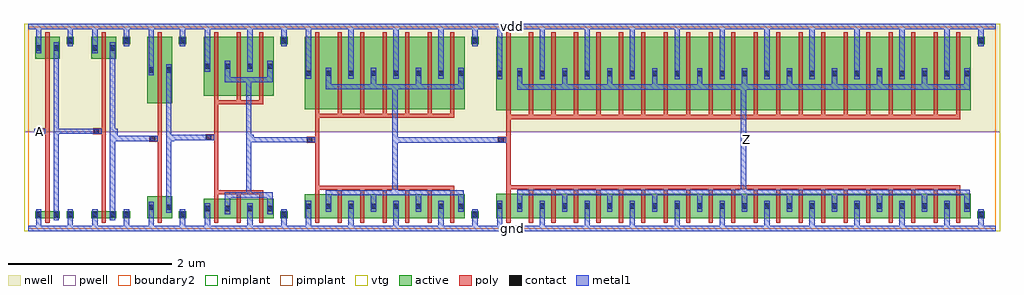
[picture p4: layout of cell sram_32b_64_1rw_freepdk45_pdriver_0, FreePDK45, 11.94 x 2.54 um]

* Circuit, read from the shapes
.subckt sram_32b_64_1rw_freepdk45_pdriver_0 A Z gnd vdd
M1 sram_32b_64_1rw_freepdk45_pinv_7_1/A A gnd gnd nfet w=0.09u l=0.05u
M2 sram_32b_64_1rw_freepdk45_pinv_8_2/A sram_32b_64_1rw_freepdk45_pinv_7_1/A gnd gnd nfet w=0.09u l=0.05u
M3 sram_32b_64_1rw_freepdk45_pinv_9_3/A sram_32b_64_1rw_freepdk45_pinv_8_2/A gnd gnd nfet w=0.27u l=0.05u
M4 sram_32b_64_1rw_freepdk45_pinv_10_4/A sram_32b_64_1rw_freepdk45_pinv_9_3/A gnd gnd nfet w=0.24u l=0.05u m=3
M5 sram_32b_64_1rw_freepdk45_pinv_11_5/A sram_32b_64_1rw_freepdk45_pinv_10_4/A gnd gnd nfet w=0.295u l=0.05u m=7
M6 Z sram_32b_64_1rw_freepdk45_pinv_11_5/A gnd gnd nfet w=0.3u l=0.05u m=21
M7 sram_32b_64_1rw_freepdk45_pinv_7_1/A A vdd vdd pfet w=0.27u l=0.05u
M8 sram_32b_64_1rw_freepdk45_pinv_8_2/A sram_32b_64_1rw_freepdk45_pinv_7_1/A vdd vdd pfet w=0.27u l=0.05u
M9 sram_32b_64_1rw_freepdk45_pinv_9_3/A sram_32b_64_1rw_freepdk45_pinv_8_2/A vdd vdd pfet w=0.81u l=0.05u
M10 sram_32b_64_1rw_freepdk45_pinv_10_4/A sram_32b_64_1rw_freepdk45_pinv_9_3/A vdd vdd pfet w=0.72u l=0.05u m=3
M11 sram_32b_64_1rw_freepdk45_pinv_11_5/A sram_32b_64_1rw_freepdk45_pinv_10_4/A vdd vdd pfet w=0.8875u l=0.05u m=7
M12 Z sram_32b_64_1rw_freepdk45_pinv_11_5/A vdd vdd pfet w=0.9u l=0.05u m=21
.ends

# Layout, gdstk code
import gdstk
lib = gdstk.Library(unit=1e-6, precision=5e-10)
def R(c, l, rs):  # rectangles x0, y0, x1, y1
    for r in rs: c.add(gdstk.rectangle(r[:2], r[2:], *l))
def A(c, l, x, y, w, h, nx, ny, dx, dy):  # array of equal rectangles
    R(c, l, [(x+i*dx, y+j*dy, x+i*dx+w, y+j*dy+h) for i in range(nx) for j in range(ny)])
active = (1, 0)
pwell = (2, 0)
nwell = (3, 0)
nimplant = (4, 0)
pimplant = (5, 0)
vtg = (6, 0)
poly = (9, 0)
contact = (10, 0)
metal1 = (11, 0)
boundary2 = (239, 0)

sram_32b_64_1rw_freepdk4 = lib.new_cell('sram_32b_64_1rw_freepdk45_contact_11')
R(sram_32b_64_1rw_freepdk4, active, [(0,0.0225,0.09,0.1125)])
R(sram_32b_64_1rw_freepdk4, nwell, [(-0.055,-0.0325,0.145,0.1675)])
R(sram_32b_64_1rw_freepdk4, pimplant, [(0,0.0225,0.09,0.1125)])
R(sram_32b_64_1rw_freepdk4, contact, [(0.0125,0.035,0.0775,0.1)])
R(sram_32b_64_1rw_freepdk4, metal1, [(0.0125,0,0.0775,0.135)])
R(sram_32b_64_1rw_freepdk4, boundary2, [(-0.055,-0.0325,0.145,0.1675)])

c_sram_32b_64_1rw_freepdk4 = lib.new_cell('sram_32b_64_1rw_freepdk45_pmos_m1_w0_270_sm1_dm1_da_p')
R(c_sram_32b_64_1rw_freepdk4, active, [(0,0,0.305,0.27)])
R(c_sram_32b_64_1rw_freepdk4, nwell, [(-0.08,-0.08,0.385,0.35)])
R(c_sram_32b_64_1rw_freepdk4, pimplant, [(0,0,0.305,0.27)])
R(c_sram_32b_64_1rw_freepdk4, vtg, [(-0.08,-0.08,0.385,0.35)])
R(c_sram_32b_64_1rw_freepdk4, poly, [(0.1275,-0.055,0.1775,0.325), (0.1275,-0.055,0.1775,0.325)])
R(c_sram_32b_64_1rw_freepdk4, metal1, [(0.0125,0.0675,0.0775,0.2025), (0.2275,0.0675,0.2925,0.2025)])
R(c_sram_32b_64_1rw_freepdk4, boundary2, [(-0.08,-0.08,0.385,0.35)])
c_sram_32b_64_1rw_freepdk4.add(gdstk.Reference(sram_32b_64_1rw_freepdk4, (0,0.0675)))
c_sram_32b_64_1rw_freepdk4.add(gdstk.Reference(sram_32b_64_1rw_freepdk4, (0.215,0.0675)))
c_sram_32b_64_1rw_freepdk4.add(gdstk.Label('G', (0.1525,0.135), layer=9, texttype=0))
c_sram_32b_64_1rw_freepdk4.add(gdstk.Label('S', (0.045,0.135), layer=11, texttype=0))
c_sram_32b_64_1rw_freepdk4.add(gdstk.Label('D', (0.26,0.135), layer=11, texttype=0))

c_sram_32b_64_1rw_freepdk4_ = lib.new_cell('sram_32b_64_1rw_freepdk45_contact_10')
R(c_sram_32b_64_1rw_freepdk4_, active, [(0,0.0225,0.09,0.1125)])
R(c_sram_32b_64_1rw_freepdk4_, pwell, [(-0.055,-0.0325,0.145,0.1675)])
R(c_sram_32b_64_1rw_freepdk4_, nimplant, [(0,0.0225,0.09,0.1125)])
R(c_sram_32b_64_1rw_freepdk4_, contact, [(0.0125,0.035,0.0775,0.1)])
R(c_sram_32b_64_1rw_freepdk4_, metal1, [(0.0125,0,0.0775,0.135)])
R(c_sram_32b_64_1rw_freepdk4_, boundary2, [(-0.055,-0.0325,0.145,0.1675)])

c_sram_32b_64_1rw_freepdk4__ = lib.new_cell('sram_32b_64_1rw_freepdk45_nmos_m1_w0_090_sm1_dm1_da_p')
R(c_sram_32b_64_1rw_freepdk4__, active, [(0,0,0.305,0.09)])
R(c_sram_32b_64_1rw_freepdk4__, pwell, [(-0.08,-0.08,0.385,0.17)])
R(c_sram_32b_64_1rw_freepdk4__, nimplant, [(0,0,0.305,0.09)])
R(c_sram_32b_64_1rw_freepdk4__, vtg, [(-0.08,-0.08,0.385,0.17)])
R(c_sram_32b_64_1rw_freepdk4__, poly, [(0.1275,-0.055,0.1775,0.145), (0.1275,-0.055,0.1775,0.145)])
R(c_sram_32b_64_1rw_freepdk4__, metal1, [(0.0125,-0.0225,0.0775,0.1125), (0.2275,-0.0225,0.2925,0.1125)])
R(c_sram_32b_64_1rw_freepdk4__, boundary2, [(-0.08,-0.08,0.385,0.17)])
c_sram_32b_64_1rw_freepdk4__.add(gdstk.Reference(c_sram_32b_64_1rw_freepdk4_, (0,-0.0225)))
c_sram_32b_64_1rw_freepdk4__.add(gdstk.Reference(c_sram_32b_64_1rw_freepdk4_, (0.215,-0.0225)))
c_sram_32b_64_1rw_freepdk4__.add(gdstk.Label('G', (0.1525,0.045), layer=9, texttype=0))
c_sram_32b_64_1rw_freepdk4__.add(gdstk.Label('S', (0.045,0.045), layer=11, texttype=0))
c_sram_32b_64_1rw_freepdk4__.add(gdstk.Label('D', (0.26,0.045), layer=11, texttype=0))

c_sram_32b_64_1rw_freepdk4___ = lib.new_cell('sram_32b_64_1rw_freepdk45_contact_12')
R(c_sram_32b_64_1rw_freepdk4___, active, [(0,0.0225,0.09,0.1125)])
R(c_sram_32b_64_1rw_freepdk4___, nwell, [(-0.055,-0.0325,0.145,0.1675)])
R(c_sram_32b_64_1rw_freepdk4___, nimplant, [(0,0.0225,0.09,0.1125)])
R(c_sram_32b_64_1rw_freepdk4___, contact, [(0.0125,0.035,0.0775,0.1)])
R(c_sram_32b_64_1rw_freepdk4___, metal1, [(0.0125,0,0.0775,0.135)])
R(c_sram_32b_64_1rw_freepdk4___, boundary2, [(-0.055,-0.0325,0.145,0.1675)])

c_sram_32b_64_1rw_freepdk4____ = lib.new_cell('sram_32b_64_1rw_freepdk45_contact_13')
R(c_sram_32b_64_1rw_freepdk4____, active, [(0,0.0225,0.09,0.1125)])
R(c_sram_32b_64_1rw_freepdk4____, pwell, [(-0.055,-0.0325,0.145,0.1675)])
R(c_sram_32b_64_1rw_freepdk4____, pimplant, [(0,0.0225,0.09,0.1125)])
R(c_sram_32b_64_1rw_freepdk4____, contact, [(0.0125,0.035,0.0775,0.1)])
R(c_sram_32b_64_1rw_freepdk4____, metal1, [(0.0125,0,0.0775,0.135)])
R(c_sram_32b_64_1rw_freepdk4____, boundary2, [(-0.055,-0.0325,0.145,0.1675)])

c_sram_32b_64_1rw_freepdk4_____ = lib.new_cell('sram_32b_64_1rw_freepdk45_contact_14')
R(c_sram_32b_64_1rw_freepdk4_____, poly, [(0.03,0,0.105,0.075)])
R(c_sram_32b_64_1rw_freepdk4_____, contact, [(0.035,0.005,0.1,0.07)])
R(c_sram_32b_64_1rw_freepdk4_____, metal1, [(0,0.005,0.135,0.07)])
R(c_sram_32b_64_1rw_freepdk4_____, boundary2, [(0,0,0.135,0.075)])

c_sram_32b_64_1rw_freepdk4______ = lib.new_cell('sram_32b_64_1rw_freepdk45_pinv_7')
R(c_sram_32b_64_1rw_freepdk4______, pwell, [(-0.055,-0.0325,0.7425,1.185)])
R(c_sram_32b_64_1rw_freepdk4______, nwell, [(-0.055,1.185,0.7425,2.505)])
R(c_sram_32b_64_1rw_freepdk4______, vtg, [(-0.055,-0.0325,0.7425,1.185), (-0.055,1.185,0.7425,2.505)])
R(c_sram_32b_64_1rw_freepdk4______, poly, [(0.2075,0.27,0.2575,2.02), (0.14,1.1525,0.2075,1.2275)])
R(c_sram_32b_64_1rw_freepdk4______, metal1, [(0,-0.0325,0.6875,0.0325), (0.0925,-0.0325,0.1575,0.1025), (0.4775,0,0.5425,0.17), (0.3075,0.1025,0.3725,2.2775), (0.0725,1.1575,0.2075,1.2225), (0.34,1.1575,0.405,1.2225), (0.0925,2.1425,0.1575,2.5025), (0.4775,2.3,0.5425,2.47), (0,2.4375,0.6875,2.5025)])
R(c_sram_32b_64_1rw_freepdk4______, boundary2, [(0,0,0.6875,2.47), (0,0,0.6875,2.47)])
c_sram_32b_64_1rw_freepdk4______.add(gdstk.Reference(c_sram_32b_64_1rw_freepdk4, (0.08,2.075)))
c_sram_32b_64_1rw_freepdk4______.add(gdstk.Reference(c_sram_32b_64_1rw_freepdk4__, (0.08,0.125)))
c_sram_32b_64_1rw_freepdk4______.add(gdstk.Reference(c_sram_32b_64_1rw_freepdk4___, (0.465,2.2325)))
c_sram_32b_64_1rw_freepdk4______.add(gdstk.Reference(c_sram_32b_64_1rw_freepdk4____, (0.465,0.1025)))
c_sram_32b_64_1rw_freepdk4______.add(gdstk.Reference(c_sram_32b_64_1rw_freepdk4_____, (0.0725,1.1525)))
c_sram_32b_64_1rw_freepdk4______.add(gdstk.Label('A', (0.14,1.19), layer=11, texttype=0))
c_sram_32b_64_1rw_freepdk4______.add(gdstk.Label('Z', (0.3725,1.19), layer=11, texttype=0))
c_sram_32b_64_1rw_freepdk4______.add(gdstk.Label('gnd', (0.344,0), layer=11, texttype=0))
c_sram_32b_64_1rw_freepdk4______.add(gdstk.Label('vdd', (0.344,2.47), layer=11, texttype=0))

c_sram_32b_64_1rw_freepdk4_______ = lib.new_cell('sram_32b_64_1rw_freepdk45_pmos_m1_w0_810_sm1_dm1_da_p')
R(c_sram_32b_64_1rw_freepdk4_______, active, [(0,0,0.305,0.81)])
R(c_sram_32b_64_1rw_freepdk4_______, nwell, [(-0.08,-0.08,0.385,0.89)])
R(c_sram_32b_64_1rw_freepdk4_______, pimplant, [(0,0,0.305,0.81)])
R(c_sram_32b_64_1rw_freepdk4_______, vtg, [(-0.08,-0.08,0.385,0.89)])
R(c_sram_32b_64_1rw_freepdk4_______, poly, [(0.1275,-0.055,0.1775,0.865), (0.1275,-0.055,0.1775,0.865)])
R(c_sram_32b_64_1rw_freepdk4_______, metal1, [(0.0125,0.3375,0.0775,0.4725), (0.2275,0.3375,0.2925,0.4725)])
R(c_sram_32b_64_1rw_freepdk4_______, boundary2, [(-0.08,-0.08,0.385,0.89)])
c_sram_32b_64_1rw_freepdk4_______.add(gdstk.Reference(sram_32b_64_1rw_freepdk4, (0,0.3375)))
c_sram_32b_64_1rw_freepdk4_______.add(gdstk.Reference(sram_32b_64_1rw_freepdk4, (0.215,0.3375)))
c_sram_32b_64_1rw_freepdk4_______.add(gdstk.Label('G', (0.1525,0.405), layer=9, texttype=0))
c_sram_32b_64_1rw_freepdk4_______.add(gdstk.Label('S', (0.045,0.405), layer=11, texttype=0))
c_sram_32b_64_1rw_freepdk4_______.add(gdstk.Label('D', (0.26,0.405), layer=11, texttype=0))

c_sram_32b_64_1rw_freepdk4________ = lib.new_cell('sram_32b_64_1rw_freepdk45_nmos_m1_w0_270_sm1_dm1_da_p')
R(c_sram_32b_64_1rw_freepdk4________, active, [(0,0,0.305,0.27)])
R(c_sram_32b_64_1rw_freepdk4________, pwell, [(-0.08,-0.08,0.385,0.35)])
R(c_sram_32b_64_1rw_freepdk4________, nimplant, [(0,0,0.305,0.27)])
R(c_sram_32b_64_1rw_freepdk4________, vtg, [(-0.08,-0.08,0.385,0.35)])
R(c_sram_32b_64_1rw_freepdk4________, poly, [(0.1275,-0.055,0.1775,0.325), (0.1275,-0.055,0.1775,0.325)])
R(c_sram_32b_64_1rw_freepdk4________, metal1, [(0.0125,0.0675,0.0775,0.2025), (0.2275,0.0675,0.2925,0.2025)])
R(c_sram_32b_64_1rw_freepdk4________, boundary2, [(-0.08,-0.08,0.385,0.35)])
c_sram_32b_64_1rw_freepdk4________.add(gdstk.Reference(c_sram_32b_64_1rw_freepdk4_, (0,0.0675)))
c_sram_32b_64_1rw_freepdk4________.add(gdstk.Reference(c_sram_32b_64_1rw_freepdk4_, (0.215,0.0675)))
c_sram_32b_64_1rw_freepdk4________.add(gdstk.Label('G', (0.1525,0.135), layer=9, texttype=0))
c_sram_32b_64_1rw_freepdk4________.add(gdstk.Label('S', (0.045,0.135), layer=11, texttype=0))
c_sram_32b_64_1rw_freepdk4________.add(gdstk.Label('D', (0.26,0.135), layer=11, texttype=0))

c_sram_32b_64_1rw_freepdk4_________ = lib.new_cell('sram_32b_64_1rw_freepdk45_pinv_8')
R(c_sram_32b_64_1rw_freepdk4_________, pwell, [(-0.055,-0.0325,0.7425,1.185)])
R(c_sram_32b_64_1rw_freepdk4_________, nwell, [(-0.055,1.185,0.7425,2.505)])
R(c_sram_32b_64_1rw_freepdk4_________, vtg, [(-0.055,-0.0325,0.7425,1.185), (-0.055,1.185,0.7425,2.505)])
R(c_sram_32b_64_1rw_freepdk4_________, poly, [(0.2075,0.45,0.2575,1.48), (0.14,1.0625,0.2075,1.1375)])
R(c_sram_32b_64_1rw_freepdk4_________, metal1, [(0,-0.0325,0.6875,0.0325), (0.0925,-0.0325,0.1575,0.1925), (0.4775,0,0.5425,0.17), (0.3075,0.1925,0.3725,2.0075), (0.0725,1.0675,0.2075,1.1325), (0.34,1.0675,0.405,1.1325), (0.0925,1.8725,0.1575,2.5025), (0.4775,2.3,0.5425,2.47), (0,2.4375,0.6875,2.5025)])
R(c_sram_32b_64_1rw_freepdk4_________, boundary2, [(0,0,0.6875,2.47), (0,0,0.6875,2.47)])
c_sram_32b_64_1rw_freepdk4_________.add(gdstk.Reference(c_sram_32b_64_1rw_freepdk4_______, (0.08,1.535)))
c_sram_32b_64_1rw_freepdk4_________.add(gdstk.Reference(c_sram_32b_64_1rw_freepdk4________, (0.08,0.125)))
c_sram_32b_64_1rw_freepdk4_________.add(gdstk.Reference(c_sram_32b_64_1rw_freepdk4___, (0.465,2.2325)))
c_sram_32b_64_1rw_freepdk4_________.add(gdstk.Reference(c_sram_32b_64_1rw_freepdk4____, (0.465,0.1025)))
c_sram_32b_64_1rw_freepdk4_________.add(gdstk.Reference(c_sram_32b_64_1rw_freepdk4_____, (0.0725,1.0625)))
c_sram_32b_64_1rw_freepdk4_________.add(gdstk.Label('A', (0.14,1.1), layer=11, texttype=0))
c_sram_32b_64_1rw_freepdk4_________.add(gdstk.Label('Z', (0.3725,1.1), layer=11, texttype=0))
c_sram_32b_64_1rw_freepdk4_________.add(gdstk.Label('gnd', (0.344,0), layer=11, texttype=0))
c_sram_32b_64_1rw_freepdk4_________.add(gdstk.Label('vdd', (0.344,2.47), layer=11, texttype=0))

c_sram_32b_64_1rw_freepdk4__________ = lib.new_cell('sram_32b_64_1rw_freepdk45_pmos_m3_w0_720_sm1_dm1_da_p')
R(c_sram_32b_64_1rw_freepdk4__________, active, [(0,0,0.855,0.72)])
R(c_sram_32b_64_1rw_freepdk4__________, nwell, [(-0.08,-0.08,0.935,0.8)])
R(c_sram_32b_64_1rw_freepdk4__________, pimplant, [(0,0,0.855,0.72)])
R(c_sram_32b_64_1rw_freepdk4__________, vtg, [(-0.08,-0.08,0.935,0.8)])
A(c_sram_32b_64_1rw_freepdk4__________, poly, 0.1275, -0.055, 0.05, 0.83, 3, 1, 0.275, 0)
R(c_sram_32b_64_1rw_freepdk4__________, poly, [(0.1275,-0.105,0.7275,-0.055)])
R(c_sram_32b_64_1rw_freepdk4__________, metal1, [(0.2575,0.1625,0.8425,0.2275), (0.2575,0.195,0.3225,0.36), (0.7775,0.195,0.8425,0.36), (0.0125,0.2925,0.0775,0.4275), (0.5325,0.2925,0.5975,0.4275)])
R(c_sram_32b_64_1rw_freepdk4__________, boundary2, [(-0.08,-0.105,0.935,0.8)])
c_sram_32b_64_1rw_freepdk4__________.add(gdstk.Reference(sram_32b_64_1rw_freepdk4, (0,0.2925)))
c_sram_32b_64_1rw_freepdk4__________.add(gdstk.Reference(sram_32b_64_1rw_freepdk4, (0.245,0.2925)))
c_sram_32b_64_1rw_freepdk4__________.add(gdstk.Reference(sram_32b_64_1rw_freepdk4, (0.52,0.2925)))
c_sram_32b_64_1rw_freepdk4__________.add(gdstk.Reference(sram_32b_64_1rw_freepdk4, (0.765,0.2925)))
c_sram_32b_64_1rw_freepdk4__________.add(gdstk.Label('G', (0.4275,-0.08), layer=9, texttype=0))
c_sram_32b_64_1rw_freepdk4__________.add(gdstk.Label('S', (0.045,0.36), layer=11, texttype=0))
c_sram_32b_64_1rw_freepdk4__________.add(gdstk.Label('S', (0.565,0.36), layer=11, texttype=0))
c_sram_32b_64_1rw_freepdk4__________.add(gdstk.Label('D', (0.55,0.195), layer=11, texttype=0))

c_sram_32b_64_1rw_freepdk4___________ = lib.new_cell('sram_32b_64_1rw_freepdk45_nmos_m3_w0_240_sm1_dm1_da_p')
R(c_sram_32b_64_1rw_freepdk4___________, active, [(0,0,0.855,0.24)])
R(c_sram_32b_64_1rw_freepdk4___________, pwell, [(-0.08,-0.08,0.935,0.32)])
R(c_sram_32b_64_1rw_freepdk4___________, nimplant, [(0,0,0.855,0.24)])
R(c_sram_32b_64_1rw_freepdk4___________, vtg, [(-0.08,-0.08,0.935,0.32)])
A(c_sram_32b_64_1rw_freepdk4___________, poly, 0.1275, -0.055, 0.05, 0.35, 3, 1, 0.275, 0)
R(c_sram_32b_64_1rw_freepdk4___________, poly, [(0.1275,0.295,0.7275,0.345)])
R(c_sram_32b_64_1rw_freepdk4___________, metal1, [(0.0125,0.0525,0.0775,0.1875), (0.5325,0.0525,0.5975,0.1875), (0.2575,0.12,0.3225,0.285), (0.7775,0.12,0.8425,0.285), (0.2575,0.2525,0.8425,0.3175)])
R(c_sram_32b_64_1rw_freepdk4___________, boundary2, [(-0.08,-0.08,0.935,0.345)])
c_sram_32b_64_1rw_freepdk4___________.add(gdstk.Reference(c_sram_32b_64_1rw_freepdk4_, (0,0.0525)))
c_sram_32b_64_1rw_freepdk4___________.add(gdstk.Reference(c_sram_32b_64_1rw_freepdk4_, (0.245,0.0525)))
c_sram_32b_64_1rw_freepdk4___________.add(gdstk.Reference(c_sram_32b_64_1rw_freepdk4_, (0.52,0.0525)))
c_sram_32b_64_1rw_freepdk4___________.add(gdstk.Reference(c_sram_32b_64_1rw_freepdk4_, (0.765,0.0525)))
c_sram_32b_64_1rw_freepdk4___________.add(gdstk.Label('G', (0.4275,0.32), layer=9, texttype=0))
c_sram_32b_64_1rw_freepdk4___________.add(gdstk.Label('S', (0.565,0.12), layer=11, texttype=0))
c_sram_32b_64_1rw_freepdk4___________.add(gdstk.Label('S', (0.045,0.12), layer=11, texttype=0))
c_sram_32b_64_1rw_freepdk4___________.add(gdstk.Label('D', (0.55,0.285), layer=11, texttype=0))

c_sram_32b_64_1rw_freepdk4____________ = lib.new_cell('sram_32b_64_1rw_freepdk45_pinv_9')
R(c_sram_32b_64_1rw_freepdk4____________, pwell, [(-0.055,-0.0325,1.2925,1.185)])
R(c_sram_32b_64_1rw_freepdk4____________, nwell, [(-0.055,1.185,1.2925,2.505)])
R(c_sram_32b_64_1rw_freepdk4____________, vtg, [(-0.055,-0.0325,1.2925,1.185), (-0.055,1.185,1.2925,2.505)])
R(c_sram_32b_64_1rw_freepdk4____________, poly, [(0.2075,0.47,0.2575,1.52), (0.14,1.0775,0.2075,1.1525)])
R(c_sram_32b_64_1rw_freepdk4____________, metal1, [(0,-0.0325,1.2375,0.0325), (0.0925,-0.0325,0.1575,0.1775), (0.6125,-0.0325,0.6775,0.1775), (1.0275,0,1.0925,0.17), (0.5975,0.3775,0.6625,1.8525), (0.0725,1.0825,0.2075,1.1475), (0.63,1.0825,0.695,1.1475), (0.0925,1.9175,0.1575,2.5025), (0.6125,1.9175,0.6775,2.5025), (1.0275,2.3,1.0925,2.47), (0,2.4375,1.2375,2.5025)])
R(c_sram_32b_64_1rw_freepdk4____________, boundary2, [(0,0,1.2375,2.47), (0,0,1.2375,2.47)])
c_sram_32b_64_1rw_freepdk4____________.add(gdstk.Reference(c_sram_32b_64_1rw_freepdk4__________, (0.08,1.625)))
c_sram_32b_64_1rw_freepdk4____________.add(gdstk.Reference(c_sram_32b_64_1rw_freepdk4___________, (0.08,0.125)))
c_sram_32b_64_1rw_freepdk4____________.add(gdstk.Reference(c_sram_32b_64_1rw_freepdk4___, (1.015,2.2325)))
c_sram_32b_64_1rw_freepdk4____________.add(gdstk.Reference(c_sram_32b_64_1rw_freepdk4____, (1.015,0.1025)))
c_sram_32b_64_1rw_freepdk4____________.add(gdstk.Reference(c_sram_32b_64_1rw_freepdk4_____, (0.0725,1.0775)))
c_sram_32b_64_1rw_freepdk4____________.add(gdstk.Label('A', (0.14,1.115), layer=11, texttype=0))
c_sram_32b_64_1rw_freepdk4____________.add(gdstk.Label('Z', (0.6625,1.115), layer=11, texttype=0))
c_sram_32b_64_1rw_freepdk4____________.add(gdstk.Label('gnd', (0.619,0), layer=11, texttype=0))
c_sram_32b_64_1rw_freepdk4____________.add(gdstk.Label('vdd', (0.619,2.47), layer=11, texttype=0))

c_sram_32b_64_1rw_freepdk4_____________ = lib.new_cell('sram_32b_64_1rw_freepdk45_pmos_m7_w0_888_sm1_dm1_da_p')
R(c_sram_32b_64_1rw_freepdk4_____________, active, [(0,0,1.955,0.8875)])
R(c_sram_32b_64_1rw_freepdk4_____________, nwell, [(-0.08,-0.08,2.035,0.9675)])
R(c_sram_32b_64_1rw_freepdk4_____________, pimplant, [(0,0,1.955,0.8875)])
R(c_sram_32b_64_1rw_freepdk4_____________, vtg, [(-0.08,-0.08,2.035,0.9675)])
A(c_sram_32b_64_1rw_freepdk4_____________, poly, 0.1275, -0.055, 0.05, 0.9975, 7, 1, 0.275, 0)
R(c_sram_32b_64_1rw_freepdk4_____________, poly, [(0.1275,-0.105,1.8275,-0.055)])
A(c_sram_32b_64_1rw_freepdk4_____________, metal1, 0.2575, 0.28, 0.065, 0.165, 3, 1, 0.55, 0)
A(c_sram_32b_64_1rw_freepdk4_____________, metal1, 0.5325, 0.375, 0.065, 0.135, 3, 1, 0.55, 0)
R(c_sram_32b_64_1rw_freepdk4_____________, metal1, [(0.2575,0.245,1.9425,0.31), (1.8775,0.28,1.9425,0.445), (0.0125,0.375,0.0775,0.51)])
R(c_sram_32b_64_1rw_freepdk4_____________, boundary2, [(-0.08,-0.105,2.035,0.9675)])
c_sram_32b_64_1rw_freepdk4_____________.add(gdstk.Reference(sram_32b_64_1rw_freepdk4, (0,0.375)))
c_sram_32b_64_1rw_freepdk4_____________.add(gdstk.Reference(sram_32b_64_1rw_freepdk4, (0.245,0.375)))
c_sram_32b_64_1rw_freepdk4_____________.add(gdstk.Reference(sram_32b_64_1rw_freepdk4, (0.52,0.375)))
c_sram_32b_64_1rw_freepdk4_____________.add(gdstk.Reference(sram_32b_64_1rw_freepdk4, (0.795,0.375)))
c_sram_32b_64_1rw_freepdk4_____________.add(gdstk.Reference(sram_32b_64_1rw_freepdk4, (1.07,0.375)))
c_sram_32b_64_1rw_freepdk4_____________.add(gdstk.Reference(sram_32b_64_1rw_freepdk4, (1.345,0.375)))
c_sram_32b_64_1rw_freepdk4_____________.add(gdstk.Reference(sram_32b_64_1rw_freepdk4, (1.62,0.375)))
c_sram_32b_64_1rw_freepdk4_____________.add(gdstk.Reference(sram_32b_64_1rw_freepdk4, (1.865,0.375)))
c_sram_32b_64_1rw_freepdk4_____________.add(gdstk.Label('G', (0.9775,-0.08), layer=9, texttype=0))
c_sram_32b_64_1rw_freepdk4_____________.add(gdstk.Label('S', (0.045,0.4425), layer=11, texttype=0))
c_sram_32b_64_1rw_freepdk4_____________.add(gdstk.Label('S', (1.665,0.4425), layer=11, texttype=0))
c_sram_32b_64_1rw_freepdk4_____________.add(gdstk.Label('S', (0.565,0.4425), layer=11, texttype=0))
c_sram_32b_64_1rw_freepdk4_____________.add(gdstk.Label('S', (1.115,0.4425), layer=11, texttype=0))
c_sram_32b_64_1rw_freepdk4_____________.add(gdstk.Label('D', (1.1,0.2775), layer=11, texttype=0))

c_sram_32b_64_1rw_freepdk4______________ = lib.new_cell('sram_32b_64_1rw_freepdk45_nmos_m7_w0_295_sm1_dm1_da_p')
R(c_sram_32b_64_1rw_freepdk4______________, active, [(0,0,1.955,0.295)])
R(c_sram_32b_64_1rw_freepdk4______________, pwell, [(-0.08,-0.08,2.035,0.375)])
R(c_sram_32b_64_1rw_freepdk4______________, nimplant, [(0,0,1.955,0.295)])
R(c_sram_32b_64_1rw_freepdk4______________, vtg, [(-0.08,-0.08,2.035,0.375)])
A(c_sram_32b_64_1rw_freepdk4______________, poly, 0.1275, -0.055, 0.05, 0.405, 7, 1, 0.275, 0)
R(c_sram_32b_64_1rw_freepdk4______________, poly, [(0.1275,0.35,1.8275,0.4)])
A(c_sram_32b_64_1rw_freepdk4______________, metal1, 0.5325, 0.08, 0.065, 0.135, 3, 1, 0.55, 0)
A(c_sram_32b_64_1rw_freepdk4______________, metal1, 0.2575, 0.1475, 0.065, 0.165, 3, 1, 0.55, 0)
R(c_sram_32b_64_1rw_freepdk4______________, metal1, [(0.0125,0.08,0.0775,0.215), (1.8775,0.1475,1.9425,0.3125), (0.2575,0.28,1.9425,0.345)])
R(c_sram_32b_64_1rw_freepdk4______________, boundary2, [(-0.08,-0.08,2.035,0.4)])
c_sram_32b_64_1rw_freepdk4______________.add(gdstk.Reference(c_sram_32b_64_1rw_freepdk4_, (0,0.08)))
c_sram_32b_64_1rw_freepdk4______________.add(gdstk.Reference(c_sram_32b_64_1rw_freepdk4_, (0.245,0.08)))
c_sram_32b_64_1rw_freepdk4______________.add(gdstk.Reference(c_sram_32b_64_1rw_freepdk4_, (0.52,0.08)))
c_sram_32b_64_1rw_freepdk4______________.add(gdstk.Reference(c_sram_32b_64_1rw_freepdk4_, (0.795,0.08)))
c_sram_32b_64_1rw_freepdk4______________.add(gdstk.Reference(c_sram_32b_64_1rw_freepdk4_, (1.07,0.08)))
c_sram_32b_64_1rw_freepdk4______________.add(gdstk.Reference(c_sram_32b_64_1rw_freepdk4_, (1.345,0.08)))
c_sram_32b_64_1rw_freepdk4______________.add(gdstk.Reference(c_sram_32b_64_1rw_freepdk4_, (1.62,0.08)))
c_sram_32b_64_1rw_freepdk4______________.add(gdstk.Reference(c_sram_32b_64_1rw_freepdk4_, (1.865,0.08)))
c_sram_32b_64_1rw_freepdk4______________.add(gdstk.Label('G', (0.9775,0.375), layer=9, texttype=0))
c_sram_32b_64_1rw_freepdk4______________.add(gdstk.Label('S', (0.565,0.1475), layer=11, texttype=0))
c_sram_32b_64_1rw_freepdk4______________.add(gdstk.Label('S', (0.045,0.1475), layer=11, texttype=0))
c_sram_32b_64_1rw_freepdk4______________.add(gdstk.Label('S', (1.115,0.1475), layer=11, texttype=0))
c_sram_32b_64_1rw_freepdk4______________.add(gdstk.Label('S', (1.665,0.1475), layer=11, texttype=0))
c_sram_32b_64_1rw_freepdk4______________.add(gdstk.Label('D', (1.1,0.3125), layer=11, texttype=0))

c_sram_32b_64_1rw_freepdk4_______________ = lib.new_cell('sram_32b_64_1rw_freepdk45_pinv_10')
R(c_sram_32b_64_1rw_freepdk4_______________, pwell, [(-0.055,-0.0325,2.3925,1.185)])
R(c_sram_32b_64_1rw_freepdk4_______________, nwell, [(-0.055,1.185,2.3925,2.505)])
R(c_sram_32b_64_1rw_freepdk4_______________, vtg, [(-0.055,-0.0325,2.3925,1.185), (-0.055,1.185,2.3925,2.505)])
R(c_sram_32b_64_1rw_freepdk4_______________, poly, [(0.2075,0.525,0.2575,1.3525), (0.14,1.05,0.2075,1.125)])
A(c_sram_32b_64_1rw_freepdk4_______________, metal1, 0.6125, -0.0325, 0.065, 0.2375, 3, 1, 0.55, 0)
A(c_sram_32b_64_1rw_freepdk4_______________, metal1, 0.6125, 1.8325, 0.065, 0.67, 3, 1, 0.55, 0)
R(c_sram_32b_64_1rw_freepdk4_______________, metal1, [(0,-0.0325,2.3375,0.0325), (0.0925,-0.0325,0.1575,0.205), (2.1275,0,2.1925,0.17), (1.1475,0.405,1.2125,1.7675), (0.0725,1.055,0.2075,1.12), (1.18,1.055,1.245,1.12), (0.0925,1.8325,0.1575,2.5025), (2.1275,2.3,2.1925,2.47), (0,2.4375,2.3375,2.5025)])
R(c_sram_32b_64_1rw_freepdk4_______________, boundary2, [(0,0,2.3375,2.47), (0,0,2.3375,2.47)])
c_sram_32b_64_1rw_freepdk4_______________.add(gdstk.Reference(c_sram_32b_64_1rw_freepdk4_____________, (0.08,1.4575)))
c_sram_32b_64_1rw_freepdk4_______________.add(gdstk.Reference(c_sram_32b_64_1rw_freepdk4______________, (0.08,0.125)))
c_sram_32b_64_1rw_freepdk4_______________.add(gdstk.Reference(c_sram_32b_64_1rw_freepdk4___, (2.115,2.2325)))
c_sram_32b_64_1rw_freepdk4_______________.add(gdstk.Reference(c_sram_32b_64_1rw_freepdk4____, (2.115,0.1025)))
c_sram_32b_64_1rw_freepdk4_______________.add(gdstk.Reference(c_sram_32b_64_1rw_freepdk4_____, (0.0725,1.05)))
c_sram_32b_64_1rw_freepdk4_______________.add(gdstk.Label('A', (0.14,1.0875), layer=11, texttype=0))
c_sram_32b_64_1rw_freepdk4_______________.add(gdstk.Label('Z', (1.2125,1.0875), layer=11, texttype=0))
c_sram_32b_64_1rw_freepdk4_______________.add(gdstk.Label('gnd', (1.169,0), layer=11, texttype=0))
c_sram_32b_64_1rw_freepdk4_______________.add(gdstk.Label('vdd', (1.169,2.47), layer=11, texttype=0))

c_sram_32b_64_1rw_freepdk4________________ = lib.new_cell('sram_32b_64_1rw_freepdk45_pmos_m21_w0_900_sm1_dm1_da_p')
R(c_sram_32b_64_1rw_freepdk4________________, active, [(0,0,5.805,0.9)])
R(c_sram_32b_64_1rw_freepdk4________________, nwell, [(-0.08,-0.08,5.885,0.98)])
R(c_sram_32b_64_1rw_freepdk4________________, pimplant, [(0,0,5.805,0.9)])
R(c_sram_32b_64_1rw_freepdk4________________, vtg, [(-0.08,-0.08,5.885,0.98)])
A(c_sram_32b_64_1rw_freepdk4________________, poly, 0.1275, -0.055, 0.05, 1.01, 21, 1, 0.275, 0)
R(c_sram_32b_64_1rw_freepdk4________________, poly, [(0.1275,-0.105,5.6775,-0.055)])
A(c_sram_32b_64_1rw_freepdk4________________, metal1, 0.2575, 0.285, 0.065, 0.165, 10, 1, 0.55, 0)
A(c_sram_32b_64_1rw_freepdk4________________, metal1, 0.5325, 0.3825, 0.065, 0.135, 10, 1, 0.55, 0)
R(c_sram_32b_64_1rw_freepdk4________________, metal1, [(0.2575,0.2525,5.7925,0.3175), (5.7275,0.285,5.7925,0.45), (0.0125,0.3825,0.0775,0.5175)])
R(c_sram_32b_64_1rw_freepdk4________________, boundary2, [(-0.08,-0.105,5.885,0.98)])
c_sram_32b_64_1rw_freepdk4________________.add(gdstk.Reference(sram_32b_64_1rw_freepdk4, (0,0.3825)))
c_sram_32b_64_1rw_freepdk4________________.add(gdstk.Reference(sram_32b_64_1rw_freepdk4, (0.245,0.3825)))
c_sram_32b_64_1rw_freepdk4________________.add(gdstk.Reference(sram_32b_64_1rw_freepdk4, (0.52,0.3825)))
c_sram_32b_64_1rw_freepdk4________________.add(gdstk.Reference(sram_32b_64_1rw_freepdk4, (0.795,0.3825)))
c_sram_32b_64_1rw_freepdk4________________.add(gdstk.Reference(sram_32b_64_1rw_freepdk4, (1.07,0.3825)))
c_sram_32b_64_1rw_freepdk4________________.add(gdstk.Reference(sram_32b_64_1rw_freepdk4, (1.345,0.3825)))
c_sram_32b_64_1rw_freepdk4________________.add(gdstk.Reference(sram_32b_64_1rw_freepdk4, (1.62,0.3825)))
c_sram_32b_64_1rw_freepdk4________________.add(gdstk.Reference(sram_32b_64_1rw_freepdk4, (1.895,0.3825)))
c_sram_32b_64_1rw_freepdk4________________.add(gdstk.Reference(sram_32b_64_1rw_freepdk4, (2.17,0.3825)))
c_sram_32b_64_1rw_freepdk4________________.add(gdstk.Reference(sram_32b_64_1rw_freepdk4, (2.445,0.3825)))
c_sram_32b_64_1rw_freepdk4________________.add(gdstk.Reference(sram_32b_64_1rw_freepdk4, (2.72,0.3825)))
c_sram_32b_64_1rw_freepdk4________________.add(gdstk.Reference(sram_32b_64_1rw_freepdk4, (2.995,0.3825)))
c_sram_32b_64_1rw_freepdk4________________.add(gdstk.Reference(sram_32b_64_1rw_freepdk4, (3.27,0.3825)))
c_sram_32b_64_1rw_freepdk4________________.add(gdstk.Reference(sram_32b_64_1rw_freepdk4, (3.545,0.3825)))
c_sram_32b_64_1rw_freepdk4________________.add(gdstk.Reference(sram_32b_64_1rw_freepdk4, (3.82,0.3825)))
c_sram_32b_64_1rw_freepdk4________________.add(gdstk.Reference(sram_32b_64_1rw_freepdk4, (4.095,0.3825)))
c_sram_32b_64_1rw_freepdk4________________.add(gdstk.Reference(sram_32b_64_1rw_freepdk4, (4.37,0.3825)))
c_sram_32b_64_1rw_freepdk4________________.add(gdstk.Reference(sram_32b_64_1rw_freepdk4, (4.645,0.3825)))
c_sram_32b_64_1rw_freepdk4________________.add(gdstk.Reference(sram_32b_64_1rw_freepdk4, (4.92,0.3825)))
c_sram_32b_64_1rw_freepdk4________________.add(gdstk.Reference(sram_32b_64_1rw_freepdk4, (5.195,0.3825)))
c_sram_32b_64_1rw_freepdk4________________.add(gdstk.Reference(sram_32b_64_1rw_freepdk4, (5.47,0.3825)))
c_sram_32b_64_1rw_freepdk4________________.add(gdstk.Reference(sram_32b_64_1rw_freepdk4, (5.715,0.3825)))
c_sram_32b_64_1rw_freepdk4________________.add(gdstk.Label('G', (2.9025,-0.08), layer=9, texttype=0))
c_sram_32b_64_1rw_freepdk4________________.add(gdstk.Label('S', (4.415,0.45), layer=11, texttype=0))
c_sram_32b_64_1rw_freepdk4________________.add(gdstk.Label('S', (2.215,0.45), layer=11, texttype=0))
c_sram_32b_64_1rw_freepdk4________________.add(gdstk.Label('S', (3.315,0.45), layer=11, texttype=0))
c_sram_32b_64_1rw_freepdk4________________.add(gdstk.Label('S', (5.515,0.45), layer=11, texttype=0))
c_sram_32b_64_1rw_freepdk4________________.add(gdstk.Label('S', (1.665,0.45), layer=11, texttype=0))
c_sram_32b_64_1rw_freepdk4________________.add(gdstk.Label('S', (0.045,0.45), layer=11, texttype=0))
c_sram_32b_64_1rw_freepdk4________________.add(gdstk.Label('S', (2.765,0.45), layer=11, texttype=0))
c_sram_32b_64_1rw_freepdk4________________.add(gdstk.Label('S', (4.965,0.45), layer=11, texttype=0))
c_sram_32b_64_1rw_freepdk4________________.add(gdstk.Label('S', (3.865,0.45), layer=11, texttype=0))
c_sram_32b_64_1rw_freepdk4________________.add(gdstk.Label('S', (1.115,0.45), layer=11, texttype=0))
c_sram_32b_64_1rw_freepdk4________________.add(gdstk.Label('S', (0.565,0.45), layer=11, texttype=0))
c_sram_32b_64_1rw_freepdk4________________.add(gdstk.Label('D', (3.025,0.285), layer=11, texttype=0))

c_sram_32b_64_1rw_freepdk4_________________ = lib.new_cell('sram_32b_64_1rw_freepdk45_nmos_m21_w0_300_sm1_dm1_da_p')
R(c_sram_32b_64_1rw_freepdk4_________________, active, [(0,0,5.805,0.3)])
R(c_sram_32b_64_1rw_freepdk4_________________, pwell, [(-0.08,-0.08,5.885,0.38)])
R(c_sram_32b_64_1rw_freepdk4_________________, nimplant, [(0,0,5.805,0.3)])
R(c_sram_32b_64_1rw_freepdk4_________________, vtg, [(-0.08,-0.08,5.885,0.38)])
A(c_sram_32b_64_1rw_freepdk4_________________, poly, 0.1275, -0.055, 0.05, 0.41, 21, 1, 0.275, 0)
R(c_sram_32b_64_1rw_freepdk4_________________, poly, [(0.1275,0.355,5.6775,0.405)])
A(c_sram_32b_64_1rw_freepdk4_________________, metal1, 0.5325, 0.0825, 0.065, 0.135, 10, 1, 0.55, 0)
A(c_sram_32b_64_1rw_freepdk4_________________, metal1, 0.2575, 0.15, 0.065, 0.165, 10, 1, 0.55, 0)
R(c_sram_32b_64_1rw_freepdk4_________________, metal1, [(0.0125,0.0825,0.0775,0.2175), (5.7275,0.15,5.7925,0.315), (0.2575,0.2825,5.7925,0.3475)])
R(c_sram_32b_64_1rw_freepdk4_________________, boundary2, [(-0.08,-0.08,5.885,0.405)])
c_sram_32b_64_1rw_freepdk4_________________.add(gdstk.Reference(c_sram_32b_64_1rw_freepdk4_, (0,0.0825)))
c_sram_32b_64_1rw_freepdk4_________________.add(gdstk.Reference(c_sram_32b_64_1rw_freepdk4_, (0.245,0.0825)))
c_sram_32b_64_1rw_freepdk4_________________.add(gdstk.Reference(c_sram_32b_64_1rw_freepdk4_, (0.52,0.0825)))
c_sram_32b_64_1rw_freepdk4_________________.add(gdstk.Reference(c_sram_32b_64_1rw_freepdk4_, (0.795,0.0825)))
c_sram_32b_64_1rw_freepdk4_________________.add(gdstk.Reference(c_sram_32b_64_1rw_freepdk4_, (1.07,0.0825)))
c_sram_32b_64_1rw_freepdk4_________________.add(gdstk.Reference(c_sram_32b_64_1rw_freepdk4_, (1.345,0.0825)))
c_sram_32b_64_1rw_freepdk4_________________.add(gdstk.Reference(c_sram_32b_64_1rw_freepdk4_, (1.62,0.0825)))
c_sram_32b_64_1rw_freepdk4_________________.add(gdstk.Reference(c_sram_32b_64_1rw_freepdk4_, (1.895,0.0825)))
c_sram_32b_64_1rw_freepdk4_________________.add(gdstk.Reference(c_sram_32b_64_1rw_freepdk4_, (2.17,0.0825)))
c_sram_32b_64_1rw_freepdk4_________________.add(gdstk.Reference(c_sram_32b_64_1rw_freepdk4_, (2.445,0.0825)))
c_sram_32b_64_1rw_freepdk4_________________.add(gdstk.Reference(c_sram_32b_64_1rw_freepdk4_, (2.72,0.0825)))
c_sram_32b_64_1rw_freepdk4_________________.add(gdstk.Reference(c_sram_32b_64_1rw_freepdk4_, (2.995,0.0825)))
c_sram_32b_64_1rw_freepdk4_________________.add(gdstk.Reference(c_sram_32b_64_1rw_freepdk4_, (3.27,0.0825)))
c_sram_32b_64_1rw_freepdk4_________________.add(gdstk.Reference(c_sram_32b_64_1rw_freepdk4_, (3.545,0.0825)))
c_sram_32b_64_1rw_freepdk4_________________.add(gdstk.Reference(c_sram_32b_64_1rw_freepdk4_, (3.82,0.0825)))
c_sram_32b_64_1rw_freepdk4_________________.add(gdstk.Reference(c_sram_32b_64_1rw_freepdk4_, (4.095,0.0825)))
c_sram_32b_64_1rw_freepdk4_________________.add(gdstk.Reference(c_sram_32b_64_1rw_freepdk4_, (4.37,0.0825)))
c_sram_32b_64_1rw_freepdk4_________________.add(gdstk.Reference(c_sram_32b_64_1rw_freepdk4_, (4.645,0.0825)))
c_sram_32b_64_1rw_freepdk4_________________.add(gdstk.Reference(c_sram_32b_64_1rw_freepdk4_, (4.92,0.0825)))
c_sram_32b_64_1rw_freepdk4_________________.add(gdstk.Reference(c_sram_32b_64_1rw_freepdk4_, (5.195,0.0825)))
c_sram_32b_64_1rw_freepdk4_________________.add(gdstk.Reference(c_sram_32b_64_1rw_freepdk4_, (5.47,0.0825)))
c_sram_32b_64_1rw_freepdk4_________________.add(gdstk.Reference(c_sram_32b_64_1rw_freepdk4_, (5.715,0.0825)))
c_sram_32b_64_1rw_freepdk4_________________.add(gdstk.Label('G', (2.9025,0.38), layer=9, texttype=0))
c_sram_32b_64_1rw_freepdk4_________________.add(gdstk.Label('S', (4.965,0.15), layer=11, texttype=0))
c_sram_32b_64_1rw_freepdk4_________________.add(gdstk.Label('S', (4.415,0.15), layer=11, texttype=0))
c_sram_32b_64_1rw_freepdk4_________________.add(gdstk.Label('S', (2.215,0.15), layer=11, texttype=0))
c_sram_32b_64_1rw_freepdk4_________________.add(gdstk.Label('S', (3.865,0.15), layer=11, texttype=0))
c_sram_32b_64_1rw_freepdk4_________________.add(gdstk.Label('S', (0.565,0.15), layer=11, texttype=0))
c_sram_32b_64_1rw_freepdk4_________________.add(gdstk.Label('S', (1.665,0.15), layer=11, texttype=0))
c_sram_32b_64_1rw_freepdk4_________________.add(gdstk.Label('S', (0.045,0.15), layer=11, texttype=0))
c_sram_32b_64_1rw_freepdk4_________________.add(gdstk.Label('S', (1.115,0.15), layer=11, texttype=0))
c_sram_32b_64_1rw_freepdk4_________________.add(gdstk.Label('S', (2.765,0.15), layer=11, texttype=0))
c_sram_32b_64_1rw_freepdk4_________________.add(gdstk.Label('S', (5.515,0.15), layer=11, texttype=0))
c_sram_32b_64_1rw_freepdk4_________________.add(gdstk.Label('S', (3.315,0.15), layer=11, texttype=0))
c_sram_32b_64_1rw_freepdk4_________________.add(gdstk.Label('D', (3.025,0.315), layer=11, texttype=0))

c_sram_32b_64_1rw_freepdk4__________________ = lib.new_cell('sram_32b_64_1rw_freepdk45_pinv_11')
R(c_sram_32b_64_1rw_freepdk4__________________, pwell, [(-0.055,-0.0325,6.2425,1.185)])
R(c_sram_32b_64_1rw_freepdk4__________________, nwell, [(-0.055,1.185,6.2425,2.505)])
R(c_sram_32b_64_1rw_freepdk4__________________, vtg, [(-0.055,-0.0325,6.2425,1.185), (-0.055,1.185,6.2425,2.505)])
R(c_sram_32b_64_1rw_freepdk4__________________, poly, [(0.2075,0.53,0.2575,1.34), (0.14,1.0475,0.2075,1.1225)])
A(c_sram_32b_64_1rw_freepdk4__________________, metal1, 0.6125, -0.0325, 0.065, 0.24, 10, 1, 0.55, 0)
A(c_sram_32b_64_1rw_freepdk4__________________, metal1, 0.6125, 1.8275, 0.065, 0.675, 10, 1, 0.55, 0)
R(c_sram_32b_64_1rw_freepdk4__________________, metal1, [(0,-0.0325,6.1875,0.0325), (0.0925,-0.0325,0.1575,0.2075), (5.9775,0,6.0425,0.17), (3.0725,0.4075,3.1375,1.7625), (0.0725,1.0525,0.2075,1.1175), (3.105,1.0525,3.17,1.1175), (0.0925,1.8275,0.1575,2.5025), (5.9775,2.3,6.0425,2.47), (0,2.4375,6.1875,2.5025)])
R(c_sram_32b_64_1rw_freepdk4__________________, boundary2, [(0,0,6.1875,2.47), (0,0,6.1875,2.47)])
c_sram_32b_64_1rw_freepdk4__________________.add(gdstk.Reference(c_sram_32b_64_1rw_freepdk4________________, (0.08,1.445)))
c_sram_32b_64_1rw_freepdk4__________________.add(gdstk.Reference(c_sram_32b_64_1rw_freepdk4_________________, (0.08,0.125)))
c_sram_32b_64_1rw_freepdk4__________________.add(gdstk.Reference(c_sram_32b_64_1rw_freepdk4___, (5.965,2.2325)))
c_sram_32b_64_1rw_freepdk4__________________.add(gdstk.Reference(c_sram_32b_64_1rw_freepdk4____, (5.965,0.1025)))
c_sram_32b_64_1rw_freepdk4__________________.add(gdstk.Reference(c_sram_32b_64_1rw_freepdk4_____, (0.0725,1.0475)))
c_sram_32b_64_1rw_freepdk4__________________.add(gdstk.Label('A', (0.14,1.085), layer=11, texttype=0))
c_sram_32b_64_1rw_freepdk4__________________.add(gdstk.Label('Z', (3.1375,1.085), layer=11, texttype=0))
c_sram_32b_64_1rw_freepdk4__________________.add(gdstk.Label('gnd', (3.094,0), layer=11, texttype=0))
c_sram_32b_64_1rw_freepdk4__________________.add(gdstk.Label('vdd', (3.094,2.47), layer=11, texttype=0))

c_sram_32b_64_1rw_freepdk4___________________ = lib.new_cell('sram_32b_64_1rw_freepdk45_pdriver_0')
R(c_sram_32b_64_1rw_freepdk4___________________, pwell, [(-0.055,-0.0325,11.88,1.185)])
R(c_sram_32b_64_1rw_freepdk4___________________, nwell, [(-0.055,1.185,11.88,2.505)])
R(c_sram_32b_64_1rw_freepdk4___________________, vtg, [(-0.055,-0.0325,11.88,1.185), (-0.055,1.185,11.88,2.505)])
R(c_sram_32b_64_1rw_freepdk4___________________, metal1, [(0,-0.0325,11.825,0.0325), (4.48,1.0525,4.545,1.1175), (4.5125,1.0525,5.7775,1.1175), (8.7425,1.0525,8.8075,1.1175), (2.6925,1.055,2.7575,1.12), (2.725,1.055,3.44,1.12), (1.0275,1.0675,1.0925,1.1325), (1.06,1.0675,1.515,1.1325), (1.715,1.0825,1.78,1.1475), (1.7475,1.0825,2.2025,1.1475), (4.48,1.085,4.545,1.0875), (2.6925,1.0875,2.7575,1.115), (1.0275,1.1,1.0925,1.19), (1.715,1.1,1.78,1.115), (0.0725,1.1575,0.2075,1.2225), (0.3725,1.1575,0.8275,1.2225), (0,2.4375,11.825,2.5025)])
R(c_sram_32b_64_1rw_freepdk4___________________, boundary2, [(0,0,11.825,2.47), (0,0,11.825,2.47)])
c_sram_32b_64_1rw_freepdk4___________________.add(gdstk.Reference(c_sram_32b_64_1rw_freepdk4______, (0,0)))
c_sram_32b_64_1rw_freepdk4___________________.add(gdstk.Reference(c_sram_32b_64_1rw_freepdk4______, (0.6875,0)))
c_sram_32b_64_1rw_freepdk4___________________.add(gdstk.Reference(c_sram_32b_64_1rw_freepdk4_________, (1.375,0)))
c_sram_32b_64_1rw_freepdk4___________________.add(gdstk.Reference(c_sram_32b_64_1rw_freepdk4____________, (2.0625,0)))
c_sram_32b_64_1rw_freepdk4___________________.add(gdstk.Reference(c_sram_32b_64_1rw_freepdk4_______________, (3.3,0)))
c_sram_32b_64_1rw_freepdk4___________________.add(gdstk.Reference(c_sram_32b_64_1rw_freepdk4__________________, (5.6375,0)))
c_sram_32b_64_1rw_freepdk4___________________.add(gdstk.Label('Z', (8.775,1.085), layer=11, texttype=0))
c_sram_32b_64_1rw_freepdk4___________________.add(gdstk.Label('A', (0.14,1.19), layer=11, texttype=0))
c_sram_32b_64_1rw_freepdk4___________________.add(gdstk.Label('gnd', (5.9125,0), layer=11, texttype=0))
c_sram_32b_64_1rw_freepdk4___________________.add(gdstk.Label('vdd', (5.9125,2.47), layer=11, texttype=0))

lib.write_gds('sram_32b_64_1rw_freepdk45_pdriver_0.gds')
